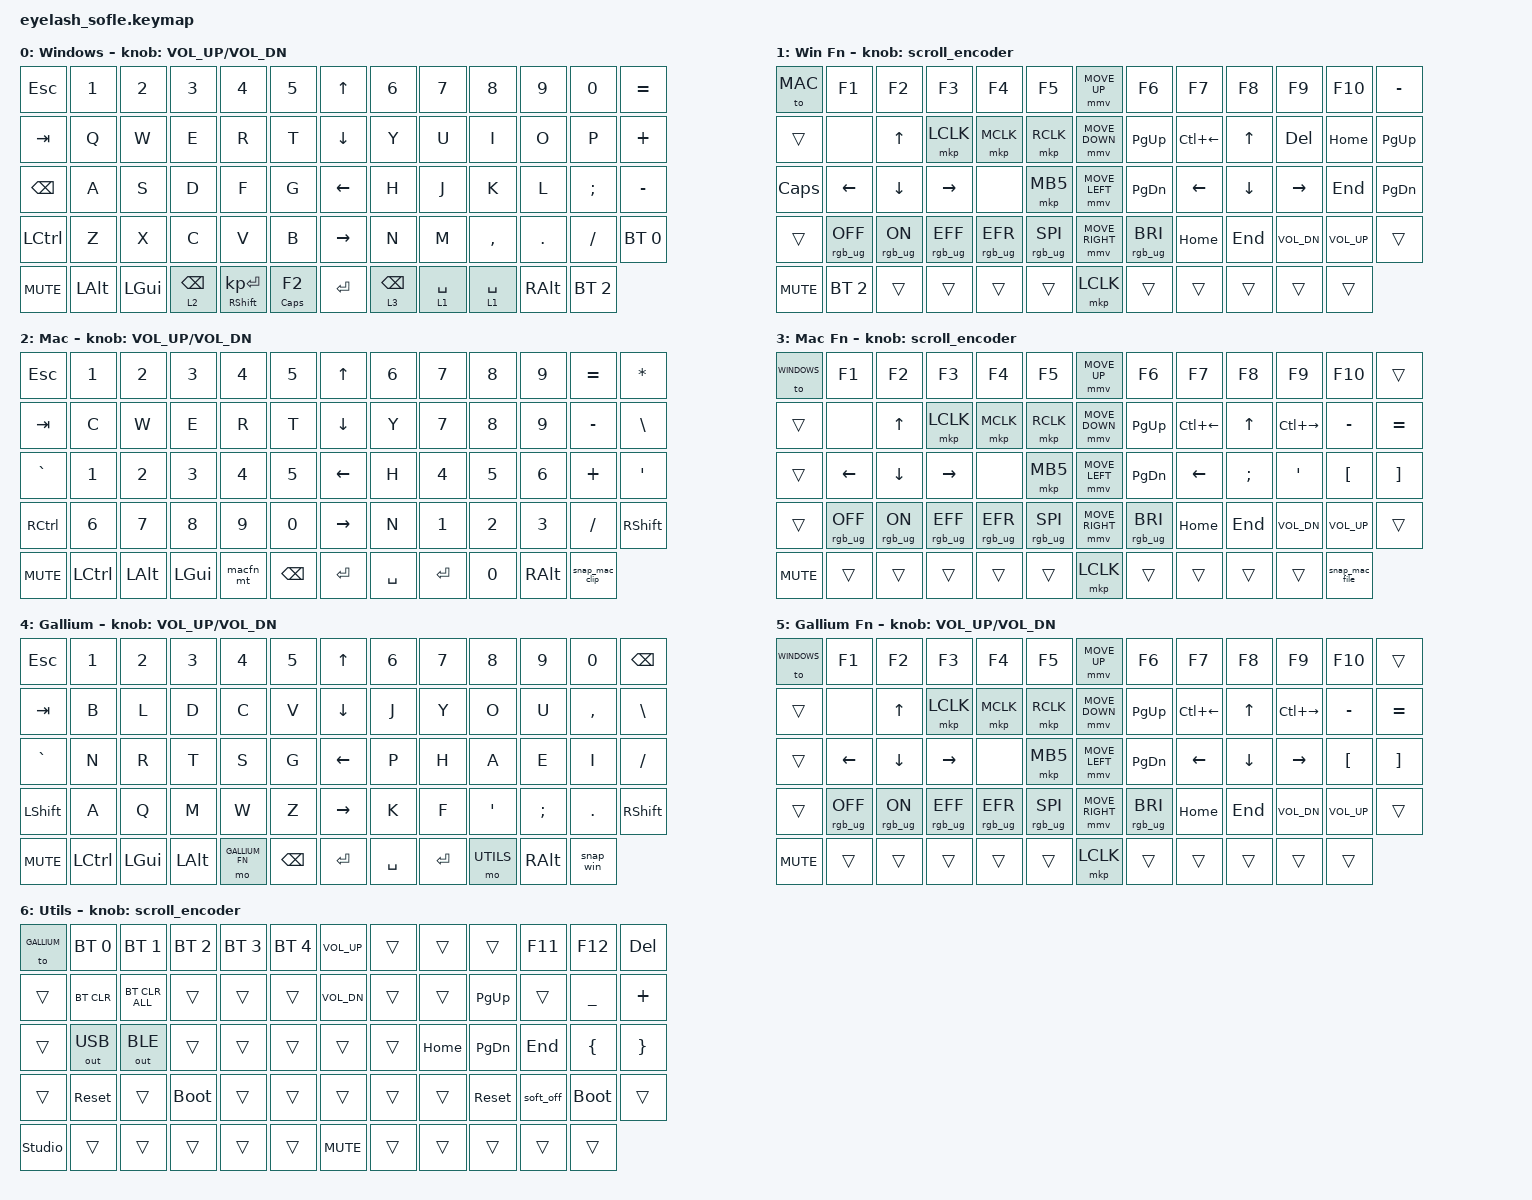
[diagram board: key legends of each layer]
#define ZMK_POINTING_DEFAULT_MOVE_VAL 1200  // 600
#define ZMK_POINTING_DEFAULT_SCRL_VAL 25   // 10

#include <input/processors.dtsi>
#include <zephyr/dt-bindings/input/input-event-codes.h>
#include <behaviors.dtsi>
#include <dt-bindings/zmk/bt.h>
#include <dt-bindings/zmk/keys.h>
#include <dt-bindings/zmk/outputs.h>
#include <dt-bindings/zmk/pointing.h>
#include <dt-bindings/zmk/rgb.h>

// Layer IDs

#define WINDOWS 0
#define WINDOWS_FN   1
#define MAC   2
#define MAC_FN   3
#define GALLIUM 4
#define GALLIUM_FN  5
#define UTILS 6

&mmv_input_listener { input-processors = <&zip_xy_scaler 2 1>; };

&msc_input_listener { input-processors = <&zip_scroll_scaler 2 1>; };

&msc {
    acceleration-exponent = <1>;      // 0
    time-to-max-speed-ms = <100>;     // 300
    delay-ms = <0>;                   // 0
};

&mmv {
    time-to-max-speed-ms = <500>;
    acceleration-exponent = <1>;
    trigger-period-ms = <16>;
};

&soft_off { hold-time-ms = <2000>; };

/ {
    scroll_encoder: scroll_encoder {
        compatible = "zmk,behavior-sensor-rotate";
        #sensor-binding-cells = <0>;
        bindings = <&msc SCRL_DOWN>, <&msc SCRL_UP>;

        tap-ms = <100>;
    };

    behaviors {
        winfn_mt: momentary_or_toggle_win_fn {
            // If held, momentary switch to layer 1 or double tap to toggle layer 1

            compatible = "zmk,behavior-tap-dance";
            #binding-cells = <0>;
            tapping-term-ms = <200>;
            bindings = <&mo WINDOWS_FN>, <&to WINDOWS_FN>;
        };

        macfn_mt: momentary_or_toggle_mac_fn {
            // If held, momentary switch to layer 3 or double tap to toggle layer 3

            compatible = "zmk,behavior-tap-dance";
            #binding-cells = <0>;
            tapping-term-ms = <200>;
            bindings = <&mo MAC_FN>, <&to MAC_FN>;
        };
    };

    combos {
        compatible = "zmk,combos";

        left {
            bindings = <&kp LC(C)>;
            key-positions = <28 29>;
        };

        right {
            bindings = <&kp LC(V)>;
            key-positions = <30 29>;
        };

        colon {
            bindings = <&kp COLON>;
            key-positions = <28 40>;
        };

        lg {
            bindings = <&kp LEFT_PARENTHESIS>;
            key-positions = <15 16>;
        };

        rg {
            bindings = <&kp RIGHT_PARENTHESIS>;
            key-positions = <16 30>;
        };

        til {
            bindings = <&kp TILDE>;
            key-positions = <27 28>;
        };

        dae1 {
            bindings = <&kp LEFT_BRACKET>;
            key-positions = <40 41>;
        };

        dae2 {
            bindings = <&kp RIGHT_BRACKET>;
            key-positions = <41 42>;
        };
    };

    macros {
        snap_win: snapshot_win {
            compatible = "zmk,behavior-macro";
            #binding-cells = <0>;
            bindings =
                <&macro_press>,
                <&kp LEFT_WIN &kp LEFT_SHIFT>,
                <&macro_tap>,
                <&kp S>,
                <&macro_release>,
                <&kp LEFT_COMMAND &kp LEFT_SHIFT>;

            label = "SNAPSHOT_WIN";
        };

        snap_mac_clip: snapshot_mac_clip {
            compatible = "zmk,behavior-macro";
            #binding-cells = <0>;
            bindings =
                <&macro_press>,
                <&kp LEFT_COMMAND &kp LEFT_CONTROL &kp LEFT_SHIFT>,
                <&macro_tap>,
                <&kp NUMBER_4>,
                <&macro_release>,
                <&kp LEFT_COMMAND &kp LEFT_CONTROL &kp LEFT_SHIFT>;

            label = "SNAPSHOT_MAC_CLIP";
        };

        snap_mac_file: snapshot_mac_file {
            compatible = "zmk,behavior-macro";
            #binding-cells = <0>;
            bindings =
                <&macro_press>,
                <&kp LEFT_COMMAND &kp LEFT_SHIFT>,
                <&macro_tap>,
                <&kp NUMBER_4>,
                <&macro_release>,
                <&kp LEFT_COMMAND &kp LEFT_SHIFT>;

            label = "SNAPSHOT_MAC_FILE";
        };
    };

    // Bottom left key is the encoder click
    // Column 7 (middle column) is the joystick from the right half

    keymap {
        compatible = "zmk,keymap";

        //
        // Windows layout
        //

        layer_0 {
            bindings = <
&kp ESC           &kp N1    &kp N2    &kp N3           &kp N4              &kp N5             &kp UP     &kp N6           &kp N7       &kp N8       &kp N9         &kp N0        &kp EQUAL
&kp TAB           &kp Q     &kp W     &kp E            &kp R               &kp T              &kp DOWN   &kp Y            &kp U        &kp I        &kp O          &kp P         &kp PLUS
&kp BACKSPACE     &kp A     &kp S     &kp D            &kp F               &kp G              &kp LEFT   &kp H            &kp J        &kp K        &kp L          &kp SEMI      &kp MINUS
&kp LEFT_CONTROL  &kp Z     &kp X     &kp C            &kp V               &kp B              &kp RIGHT  &kp N            &kp M        &kp COMMA    &kp DOT        &kp SLASH     &bt BT_SEL 0
&kp C_MUTE        &kp LALT  &kp LGUI  &lt 2 BACKSPACE  &mt RSHFT KP_ENTER  &mt CAPSLOCK F2    &kp ENTER  &lt 3 BACKSPACE  &lt 1 SPACE  &lt 1 SPACE  &kp RIGHT_ALT  &bt BT_SEL 2
            >;

            sensor-bindings = <&inc_dec_kp C_VOLUME_UP C_VOL_DN>;
            display-name = "Windows";
        };

        layer_1 {
            bindings = <
&to MAC       &kp F1           &kp F2          &kp F3           &kp F4           &kp F5             &mmv MOVE_UP     &kp F6           &kp F7        &kp F8    &kp F9        &kp F10       &kp MINUS
&trans        &none            &kp UP          &mkp LCLK        &mkp MCLK        &mkp RCLK          &mmv MOVE_DOWN   &kp PG_UP        &kp LC(LEFT)  &kp UP    &kp DEL       &kp HOME      &kp PAGE_UP
&kp CAPSLOCK  &kp LEFT         &kp DOWN        &kp RIGHT        &none            &mkp MB5           &mmv MOVE_LEFT   &kp PG_DN        &kp LEFT      &kp DOWN  &kp RIGHT     &kp END       &kp PAGE_DOWN
&trans        &rgb_ug RGB_OFF  &rgb_ug RGB_ON  &rgb_ug RGB_EFF  &rgb_ug RGB_EFR  &rgb_ug RGB_SPI    &mmv MOVE_RIGHT  &rgb_ug RGB_BRI  &kp HOME      &kp END   &kp C_VOL_DN  &kp C_VOL_UP  &trans
&kp C_MUTE    &bt BT_SEL 2     &trans          &trans           &trans           &trans             &mkp LCLK        &trans           &trans        &trans    &trans        &trans
            >;

            display-name = "Win Fn";
            sensor-bindings = <&scroll_encoder>;
        };

        //
        // Mac layout
        //

        layer_2 {
            bindings = <
&kp ESC     &kp N1        &kp N2        &kp N3        &kp N4        &kp N5           &kp UP_ARROW     &kp N6     &kp N7        &kp N8        &kp N9         &kp EQUAL       &kp ASTERISK
&kp TAB     &kp C         &kp W         &kp E         &kp R         &kp T            &kp DOWN_ARROW   &kp Y      &kp N7        &kp N8        &kp N9         &kp MINUS       &kp BSLH
&kp GRAVE   &kp NUMBER_1  &kp NUMBER_2  &kp NUMBER_3  &kp NUMBER_4  &kp N5           &kp LEFT_ARROW   &kp H      &kp NUMBER_4  &kp N5        &kp NUMBER_6   &kp PLUS        &kp APOS
&kp RCTRL   &kp NUMBER_6  &kp N7        &kp N8        &kp N9        &kp N0           &kp RIGHT_ARROW  &kp N      &kp NUMBER_1  &kp NUMBER_2  &kp NUMBER_3   &kp FSLH        &kp RIGHT_SHIFT
&kp C_MUTE  &kp LCTRL     &kp LEFT_ALT  &kp LEFT_GUI  &macfn_mt     &kp BACKSPACE    &kp ENTER        &kp SPACE  &kp ENTER     &kp NUMBER_0  &kp RIGHT_ALT  &snap_mac_clip
            >;

            sensor-bindings = <&inc_dec_kp C_VOLUME_UP C_VOL_DN>;
            display-name = "Mac";
        };

        layer_3 {
            bindings = <
&to WINDOWS  &kp F1           &kp F2          &kp F3           &kp F4           &kp F5             &mmv MOVE_UP     &kp F6           &kp F7        &kp F8         &kp F9         &kp F10           &trans
&trans       &none            &kp UP          &mkp LCLK        &mkp MCLK        &mkp RCLK          &mmv MOVE_DOWN   &kp PG_UP        &kp LC(LEFT)  &kp UP         &kp LC(RIGHT)  &kp MINUS         &kp EQUAL
&trans       &kp LEFT         &kp DOWN        &kp RIGHT        &none            &mkp MB5           &mmv MOVE_LEFT   &kp PG_DN        &kp LEFT      &kp SEMICOLON  &kp SQT        &kp LEFT_BRACKET  &kp RIGHT_BRACKET
&trans       &rgb_ug RGB_OFF  &rgb_ug RGB_ON  &rgb_ug RGB_EFF  &rgb_ug RGB_EFR  &rgb_ug RGB_SPI    &mmv MOVE_RIGHT  &rgb_ug RGB_BRI  &kp HOME      &kp END        &kp C_VOL_DN   &kp C_VOL_UP      &trans
&kp C_MUTE   &trans           &trans          &trans           &trans           &trans             &mkp LCLK        &trans           &trans        &trans         &trans         &snap_mac_file
            >;

            display-name = "Mac Fn";
            sensor-bindings = <&scroll_encoder>;
        };

        //
        // Gallium layout for Windows
        //

        gallium {
            bindings = <
&kp ESC     &kp N1     &kp N2        &kp N3        &kp N4          &kp N5           &kp UP_ARROW     &kp N6     &kp N7     &kp N8     &kp N9         &kp N0     &kp BACKSPACE
&kp TAB     &kp B      &kp L         &kp D         &kp C           &kp V            &kp DOWN_ARROW   &kp J      &kp Y      &kp O      &kp U          &kp COMMA  &kp BSLH
&kp GRAVE   &kp N      &kp R         &kp T         &kp S           &kp G            &kp LEFT_ARROW   &kp P      &kp H      &kp A      &kp E          &kp I      &kp FSLH
&kp LSHFT   &kp A      &kp Q         &kp M         &kp W           &kp Z            &kp RIGHT_ARROW  &kp K      &kp F      &kp APOS   &kp SEMI       &kp DOT    &kp RIGHT_SHIFT
&kp C_MUTE  &kp LCTRL  &kp LEFT_GUI  &kp LEFT_ALT  &mo GALLIUM_FN  &kp BACKSPACE    &kp ENTER        &kp SPACE  &kp ENTER  &mo UTILS  &kp RIGHT_ALT  &snap_win
            >;

            sensor-bindings = <&inc_dec_kp C_VOLUME_UP C_VOL_DN>;
            display-name = "Gallium";
        };

        gallium_fn {
            bindings = <
&to WINDOWS  &kp F1           &kp F2          &kp F3           &kp F4           &kp F5             &mmv MOVE_UP     &kp F6           &kp F7        &kp F8    &kp F9         &kp F10           &trans
&trans       &none            &kp UP          &mkp LCLK        &mkp MCLK        &mkp RCLK          &mmv MOVE_DOWN   &kp PG_UP        &kp LC(LEFT)  &kp UP    &kp LC(RIGHT)  &kp MINUS         &kp EQUAL
&trans       &kp LEFT         &kp DOWN        &kp RIGHT        &none            &mkp MB5           &mmv MOVE_LEFT   &kp PG_DN        &kp LEFT      &kp DOWN  &kp RIGHT      &kp LEFT_BRACKET  &kp RIGHT_BRACKET
&trans       &rgb_ug RGB_OFF  &rgb_ug RGB_ON  &rgb_ug RGB_EFF  &rgb_ug RGB_EFR  &rgb_ug RGB_SPI    &mmv MOVE_RIGHT  &rgb_ug RGB_BRI  &kp HOME      &kp END   &kp C_VOL_DN   &kp C_VOL_UP      &trans
&kp C_MUTE   &trans           &trans          &trans           &trans           &trans             &mkp LCLK        &trans           &trans        &trans    &trans         &trans
            >;

            sensor-bindings = <&inc_dec_kp C_VOLUME_UP C_VOL_DN>;
            display-name = "Gallium Fn";
        };

        utils {
            bindings = <
&to GALLIUM     &bt BT_SEL 0  &bt BT_SEL 1    &bt BT_SEL 2  &bt BT_SEL 3  &bt BT_SEL 4    &kp C_VOL_UP  &trans  &trans    &trans      &kp F11    &kp F12      &kp DEL
&trans          &bt BT_CLR    &bt BT_CLR_ALL  &trans        &trans        &trans          &kp C_VOL_DN  &trans  &trans    &kp PG_UP   &trans     &kp UNDER    &kp PLUS
&trans          &out OUT_USB  &out OUT_BLE    &trans        &trans        &trans          &trans        &trans  &kp HOME  &kp PG_DN   &kp END    &kp LBRC     &kp RBRC
&trans          &sys_reset    &trans          &bootloader   &trans        &trans          &trans        &trans  &trans    &sys_reset  &soft_off  &bootloader  &trans
&studio_unlock  &trans        &trans          &trans        &trans        &trans          &kp C_MUTE    &trans  &trans    &trans      &trans     &trans
            >;

            display-name = "Utils";
            sensor-bindings = <&scroll_encoder>;
        };
    };
};
